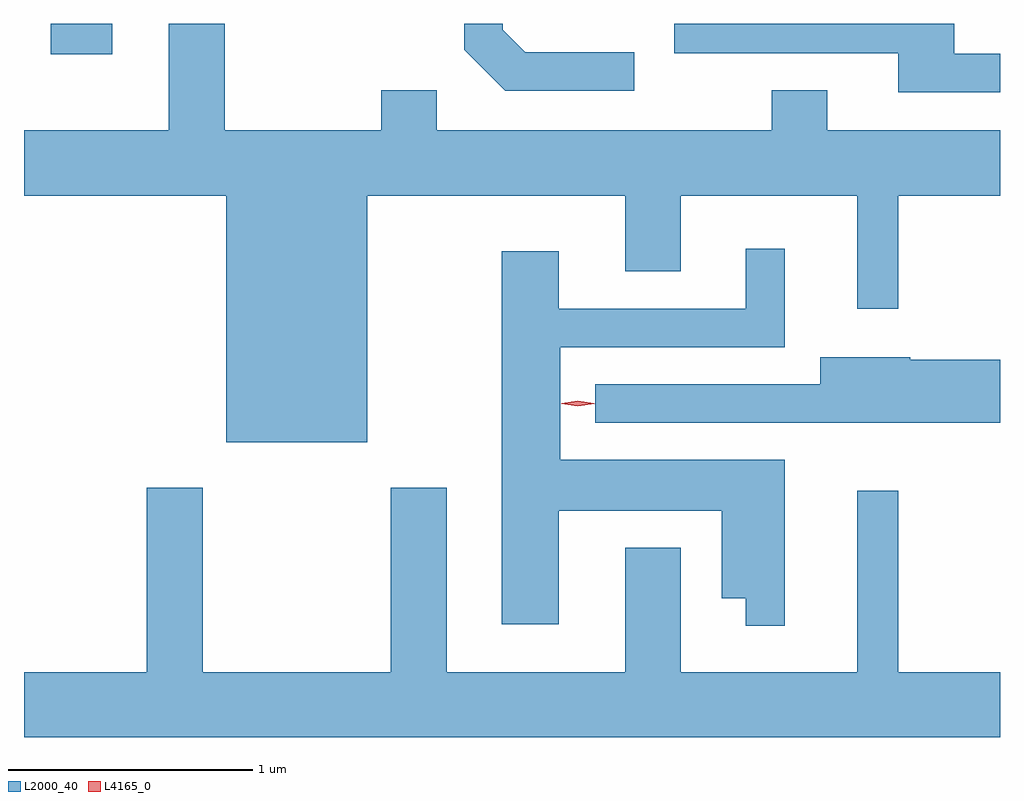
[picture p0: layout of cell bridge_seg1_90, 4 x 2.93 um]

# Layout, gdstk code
import gdstk
lib = gdstk.Library(unit=1e-6, precision=1e-09)
def R(c, l, rs):  # rectangles x0, y0, x1, y1
    for r in rs: c.add(gdstk.rectangle(r[:2], r[2:], *l))
def P(c, l, *ps):  # polygons
    for p in ps: c.add(gdstk.Polygon(p, *l))
L2000_40 = (2000, 40)
L4165_0 = (4165, 0)

bridge_seg1_90 = lib.new_cell('bridge_seg1_90')
R(bridge_seg1_90, L2000_40, [(1206.156,953.436,1206.409,953.562)])
P(bridge_seg1_90, L2000_40, [(1207.454,952.856),(1208.511,952.856),(1208.511,952.546),(1208.739,952.546),(1208.739,952.856),(1209.461,952.856),(1209.461,952.393),(1209.629,952.393),(1209.629,952.856),(1210.047,952.856),(1210.047,953.124),(1209.339,953.124),(1209.339,953.289),(1209.111,953.289),(1209.111,953.124),(1207.739,953.124),(1207.739,953.289),(1207.511,953.289),(1207.511,953.124),(1206.869,953.124),(1206.869,953.562),(1206.641,953.562),(1206.641,953.124),(1206.047,953.124),(1206.047,952.856),(1206.876,952.856),(1206.876,951.846),(1207.454,951.846)],
  [(1210.047,953.439),(1209.859,953.439),(1209.859,953.562),(1208.711,953.562),(1208.711,953.441),(1209.631,953.441),(1209.631,953.281),(1210.047,953.281)],
  [(1208.548,953.444),(1208.102,953.444),(1208.009,953.537),(1208.009,953.562),(1207.851,953.562),(1207.851,953.454),(1208.019,953.286),(1208.548,953.286)],
  [(1209.164,951.774),(1208.244,951.774),(1208.244,952.236),(1209.164,952.236),(1209.164,952.638),(1209.006,952.638),(1209.006,952.394),(1208.239,952.394),(1208.239,952.629),(1208.006,952.629),(1208.006,951.101),(1208.239,951.101),(1208.239,951.566),(1208.906,951.566),(1208.906,951.206),(1209.006,951.206),(1209.006,951.093),(1209.164,951.093)],
  [(1210.047,952.184),(1209.68,952.184),(1209.68,952.194),(1209.311,952.194),(1209.311,952.084),(1208.388,952.084),(1208.388,951.926),(1210.047,951.926)],
  [(1210.047,950.904),(1209.629,950.904),(1209.629,951.648),(1209.461,951.648),(1209.461,950.904),(1208.739,950.904),(1208.739,951.414),(1208.511,951.414),(1208.511,950.904),(1207.779,950.904),(1207.779,951.659),(1207.551,951.659),(1207.551,950.904),(1206.779,950.904),(1206.779,951.659),(1206.551,951.659),(1206.551,950.904),(1206.047,950.904),(1206.047,950.636),(1210.047,950.636)])
P(bridge_seg1_90, L4165_0, [(1208.317,951.994),(1208.248,952.003),(1208.247,952.004),(1208.248,952.004),(1208.317,952.014),(1208.386,952.004),(1208.386,952.004),(1208.386,952.003)],
  [(1208.317,951.995),(1208.251,952.004),(1208.25,952.005),(1208.251,952.005),(1208.317,952.015),(1208.382,952.005),(1208.383,952.005),(1208.382,952.004)])

lib.write_gds('bridge_seg1_90.gds')
